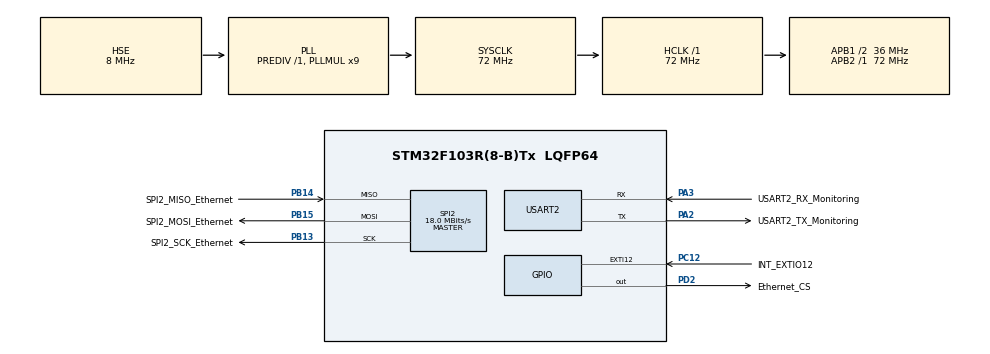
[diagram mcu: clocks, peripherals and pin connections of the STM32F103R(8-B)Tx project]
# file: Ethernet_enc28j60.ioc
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Mcu.Family=STM32F1
Mcu.Name=STM32F103R(8-B)Tx
Mcu.Package=LQFP64
NVIC.EXTI15_10_IRQn=true\:0\:0\:false\:false\:true\:true\:true\:true
NVIC.PriorityGroup=NVIC_PRIORITYGROUP_4
NVIC.TIM2_IRQn=true\:0\:0\:false\:false\:true\:true\:true\:true
NVIC.USART2_IRQn=true\:0\:0\:false\:false\:true\:true\:true\:true
PA13.Mode=Serial_Wire
PA13.Signal=SYS_JTMS-SWDIO
PA14.Mode=Serial_Wire
PA14.Signal=SYS_JTCK-SWCLK
PA2.GPIO_Label=USART2_TX_Monitoring
PA2.Mode=Asynchronous
PA2.Signal=USART2_TX
PA3.GPIO_Label=USART2_RX_Monitoring
PA3.Mode=Asynchronous
PA3.Signal=USART2_RX
PB12.Signal=SPI2_NSS
PB13.GPIO_Label=SPI2_SCK_Ethernet
PB13.Mode=Full_Duplex_Master
PB13.Signal=SPI2_SCK
PB14.GPIO_Label=SPI2_MISO_Ethernet
PB14.Mode=Full_Duplex_Master
PB14.Signal=SPI2_MISO
PB15.GPIO_Label=SPI2_MOSI_Ethernet
PB15.Mode=Full_Duplex_Master
PB15.Signal=SPI2_MOSI
PC12.GPIO_Label=INT_EXTIO12
PC12.Signal=GPXTI12
PD0-OSC_IN.Mode=HSE-External-Oscillator
PD0-OSC_IN.Signal=RCC_OSC_IN
PD1-OSC_OUT.Mode=HSE-External-Oscillator
PD1-OSC_OUT.Signal=RCC_OSC_OUT
PD2.GPIO_Label=Ethernet_CS
PD2.GPIO_Speed=GPIO_SPEED_FREQ_MEDIUM
PD2.Signal=GPIO_Output
ProjectManager.HeapSize=0x400
ProjectManager.StackSize=0x800
ProjectManager.TargetToolchain=STM32CubeIDE
RCC.AHBFreq_Value=72000000
RCC.APB1CLKDivider=RCC_HCLK_DIV2
RCC.APB1Freq_Value=36000000
RCC.APB1TimFreq_Value=72000000
RCC.APB2Freq_Value=72000000
RCC.APB2TimFreq_Value=72000000
RCC.HCLKFreq_Value=72000000
RCC.PLLMUL=RCC_PLL_MUL9
RCC.PLLSourceVirtual=RCC_PLLSOURCE_HSE
RCC.SYSCLKFreq_VALUE=72000000
RCC.SYSCLKSource=RCC_SYSCLKSOURCE_PLLCLK
RCC.USBFreq_Value=72000000
SPI2.BaudRatePrescaler=SPI_BAUDRATEPRESCALER_2
SPI2.CalculateBaudRate=18.0 MBits/s
SPI2.Direction=SPI_DIRECTION_2LINES
SPI2.Mode=SPI_MODE_MASTER
SPI2.VirtualType=VM_MASTER
TIM2.Period=1000
TIM2.Prescaler=39999
TIM2.TIM_MasterOutputTrigger=TIM_TRGO_UPDATE
USART2.VirtualMode=VM_ASYNC
VP_TIM2_VS_ClockSourceINT.Mode=Internal
board=custom

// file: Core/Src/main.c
/* USER CODE BEGIN Header */
/**
  ******************************************************************************
  * @file           : main.c
  * @brief          : Main program body
  ******************************************************************************
  * @attention
  *
  * Copyright (c) 2022 STMicroelectronics.
  * All rights reserved.
  *
  * This software is licensed under terms that can be found in the LICENSE file
  * in the root directory of this software component.
  * If no LICENSE file comes with this software, it is provided AS-IS.
  *
  ******************************************************************************
  */
/* USER CODE END Header */
#include "main.h"
#include "spi.h"
#include "tim.h"
#include "usart.h"
#include "gpio.h"

/* USER CODE BEGIN Includes */
#include "net.h"
#include "enc28j60.h"
/* USER CODE END Includes */

/* USER CODE BEGIN PV */
char str[20];//строковый массив
/* USER CODE END PV */

void SystemClock_Config(void);

int main(void)
{

  /* MCU Configuration--------------------------------------------------------*/

  /* Reset of all peripherals, Initializes the Flash interface and the Systick. */
  HAL_Init();

  /* Configure the system clock */
  SystemClock_Config();

  /* Initialize all configured peripherals */
  MX_GPIO_Init();
  MX_SPI2_Init();
  MX_USART2_UART_Init();
  MX_TIM2_Init();
  /* USER CODE BEGIN 2 */
	net_ini();
	HAL_UART_Receive_IT(&huart2, (uint8_t*)str,1);// функцию приёма USART
	HAL_TIM_Base_Start_IT(&htim2);
  /* USER CODE END 2 */

  /* Infinite loop */
  while (1)
  {

    /* USER CODE BEGIN 3 */
	  //net_poll();
  }
  /* USER CODE END 3 */
}

void SystemClock_Config(void)
{
  RCC_OscInitTypeDef RCC_OscInitStruct = {0};
  RCC_ClkInitTypeDef RCC_ClkInitStruct = {0};

  /** Initializes the RCC Oscillators according to the specified parameters
  * in the RCC_OscInitTypeDef structure.
  */
  RCC_OscInitStruct.OscillatorType = RCC_OSCILLATORTYPE_HSE;
  RCC_OscInitStruct.HSEState = RCC_HSE_ON;
  RCC_OscInitStruct.HSEPredivValue = RCC_HSE_PREDIV_DIV1;
  RCC_OscInitStruct.HSIState = RCC_HSI_ON;
  RCC_OscInitStruct.PLL.PLLState = RCC_PLL_ON;
  RCC_OscInitStruct.PLL.PLLSource = RCC_PLLSOURCE_HSE;
  RCC_OscInitStruct.PLL.PLLMUL = RCC_PLL_MUL9;
  if (HAL_RCC_OscConfig(&RCC_OscInitStruct) != HAL_OK)
  {
    Error_Handler();
  }

  /** Initializes the CPU, AHB and APB buses clocks
  */
  RCC_ClkInitStruct.ClockType = RCC_CLOCKTYPE_HCLK|RCC_CLOCKTYPE_SYSCLK
                              |RCC_CLOCKTYPE_PCLK1|RCC_CLOCKTYPE_PCLK2;
  RCC_ClkInitStruct.SYSCLKSource = RCC_SYSCLKSOURCE_PLLCLK;
  RCC_ClkInitStruct.AHBCLKDivider = RCC_SYSCLK_DIV1;
  RCC_ClkInitStruct.APB1CLKDivider = RCC_HCLK_DIV2;
  RCC_ClkInitStruct.APB2CLKDivider = RCC_HCLK_DIV1;

  if (HAL_RCC_ClockConfig(&RCC_ClkInitStruct, FLASH_LATENCY_2) != HAL_OK)
  {
    Error_Handler();
  }
}

/* USER CODE BEGIN 4 */
//-------------------официальная функцию-обработчик---------------------------------------
void HAL_UART_RxCpltCallback(UART_HandleTypeDef *huart)
{
  if(huart==&huart2)
  {
    UART2_RxCpltCallback();
  }
}
//----------------------------------------------------------

void HAL_TIM_PeriodElapsedCallback(TIM_HandleTypeDef *htim)
{
  if(htim==&htim2)
  {
    TIM_PeriodElapsedCallback();
  }
}
//----------------------------------------------------------
void HAL_GPIO_EXTI_Callback(uint16_t GPIO_Pin)
{
  if(GPIO_Pin== GPIO_PIN_12){
    net_poll();
  } else{
    __NOP();
  }
}
/* USER CODE END 4 */

void Error_Handler(void)
{
  __disable_irq();
  while (1)
  {
  }
}
